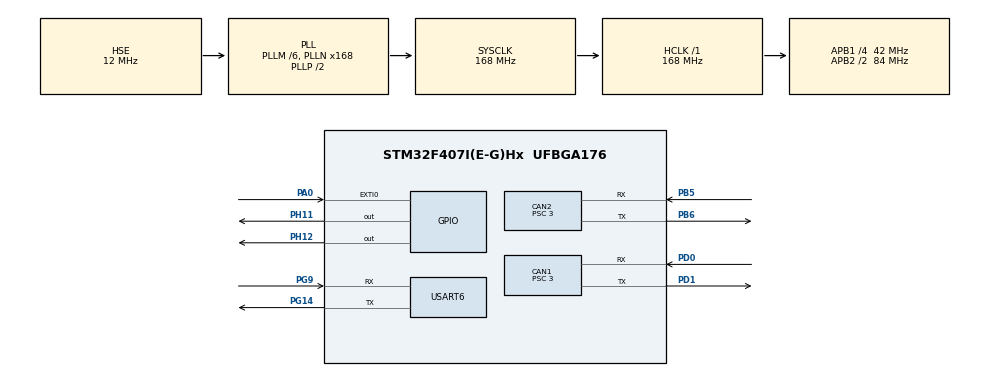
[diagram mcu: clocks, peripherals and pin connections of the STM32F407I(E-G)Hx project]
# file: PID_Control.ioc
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CAN1.BS1=CAN_BS1_10TQ
CAN1.BS2=CAN_BS2_3TQ
CAN1.CalculateBaudRate=1000000
CAN1.CalculateTimeBit=1000
CAN1.CalculateTimeQuantum=71.42857142857143
CAN1.Prescaler=3
CAN2.BS1=CAN_BS1_10TQ
CAN2.BS2=CAN_BS2_3TQ
CAN2.CalculateBaudRate=1000000
CAN2.CalculateTimeBit=1000
CAN2.CalculateTimeQuantum=71.42857142857143
CAN2.Prescaler=3
Dma.Request0=USART6_RX
Dma.Request1=USART6_TX
Dma.USART6_RX.0.Direction=DMA_PERIPH_TO_MEMORY
Dma.USART6_RX.0.FIFOMode=DMA_FIFOMODE_DISABLE
Dma.USART6_RX.0.Instance=DMA2_Stream1
Dma.USART6_RX.0.MemDataAlignment=DMA_MDATAALIGN_BYTE
Dma.USART6_RX.0.MemInc=DMA_MINC_ENABLE
Dma.USART6_RX.0.Mode=DMA_NORMAL
Dma.USART6_RX.0.PeriphDataAlignment=DMA_PDATAALIGN_BYTE
Dma.USART6_RX.0.PeriphInc=DMA_PINC_DISABLE
Dma.USART6_RX.0.Priority=DMA_PRIORITY_VERY_HIGH
Dma.USART6_TX.1.Direction=DMA_MEMORY_TO_PERIPH
Dma.USART6_TX.1.FIFOMode=DMA_FIFOMODE_DISABLE
Dma.USART6_TX.1.Instance=DMA2_Stream6
Dma.USART6_TX.1.MemDataAlignment=DMA_MDATAALIGN_BYTE
Dma.USART6_TX.1.MemInc=DMA_MINC_ENABLE
Dma.USART6_TX.1.Mode=DMA_NORMAL
Dma.USART6_TX.1.PeriphDataAlignment=DMA_PDATAALIGN_BYTE
Dma.USART6_TX.1.PeriphInc=DMA_PINC_DISABLE
Dma.USART6_TX.1.Priority=DMA_PRIORITY_VERY_HIGH
Mcu.Family=STM32F4
Mcu.Name=STM32F407I(E-G)Hx
Mcu.Package=UFBGA176
NVIC.CAN1_RX0_IRQn=true\:0\:0\:false\:false\:true\:true\:true\:true
NVIC.CAN1_RX1_IRQn=true\:0\:0\:false\:false\:true\:true\:true\:true
NVIC.CAN2_RX0_IRQn=true\:0\:0\:false\:false\:true\:true\:true\:true
NVIC.CAN2_RX1_IRQn=true\:0\:0\:false\:false\:true\:true\:true\:true
NVIC.DMA2_Stream1_IRQn=true\:0\:0\:false\:false\:true\:false\:true\:true
NVIC.DMA2_Stream6_IRQn=true\:0\:0\:false\:false\:true\:false\:true\:true
NVIC.EXTI0_IRQn=true\:0\:0\:false\:false\:true\:true\:true\:true
NVIC.PriorityGroup=NVIC_PRIORITYGROUP_4
NVIC.TIM1_UP_TIM10_IRQn=true\:0\:0\:false\:false\:true\:true\:true\:true
NVIC.TIM2_IRQn=true\:0\:0\:false\:false\:true\:true\:true\:true
NVIC.TIM3_IRQn=true\:0\:0\:false\:false\:true\:true\:true\:true
NVIC.USART6_IRQn=true\:0\:0\:false\:false\:true\:true\:true\:true
PA0-WKUP.GPIO_ModeDefaultEXTI=GPIO_MODE_IT_FALLING
PA0-WKUP.GPIO_PuPd=GPIO_PULLUP
PA0-WKUP.Signal=GPXTI0
PA13.Mode=Serial_Wire
PA13.Signal=SYS_JTMS-SWDIO
PA14.Mode=Serial_Wire
PA14.Signal=SYS_JTCK-SWCLK
PB5.Mode=CAN_Activate
PB5.Signal=CAN2_RX
PB6.Mode=CAN_Activate
PB6.Signal=CAN2_TX
PD0.Mode=CAN_Activate
PD0.Signal=CAN1_RX
PD1.Mode=CAN_Activate
PD1.Signal=CAN1_TX
PG14.Mode=Asynchronous
PG14.Signal=USART6_TX
PG9.Mode=Asynchronous
PG9.Signal=USART6_RX
PH0-OSC_IN.Mode=HSE-External-Oscillator
PH0-OSC_IN.Signal=RCC_OSC_IN
PH1-OSC_OUT.Mode=HSE-External-Oscillator
PH1-OSC_OUT.Signal=RCC_OSC_OUT
PH11.Signal=GPIO_Output
PH12.PinState=GPIO_PIN_RESET
PH12.Signal=GPIO_Output
ProjectManager.HeapSize=0x200
ProjectManager.StackSize=0x400
ProjectManager.TargetToolchain=MDK-ARM V5.32
RCC.48MHZClocksFreq_Value=84000000
RCC.AHBFreq_Value=168000000
RCC.APB1CLKDivider=RCC_HCLK_DIV4
RCC.APB1Freq_Value=42000000
RCC.APB1TimFreq_Value=84000000
RCC.APB2CLKDivider=RCC_HCLK_DIV2
RCC.APB2Freq_Value=84000000
RCC.APB2TimFreq_Value=168000000
RCC.CortexFreq_Value=168000000
RCC.HCLKFreq_Value=168000000
RCC.HSE_VALUE=12000000
RCC.HSI_VALUE=16000000
RCC.LSE_VALUE=32768
RCC.PLLM=6
RCC.PLLN=168
RCC.PLLSourceVirtual=RCC_PLLSOURCE_HSE
RCC.SYSCLKFreq_VALUE=168000000
RCC.SYSCLKSource=RCC_SYSCLKSOURCE_PLLCLK
RCC.VCOOutputFreq_Value=336000000
TIM1.Period=999
TIM1.Prescaler=16799
TIM2.Period=999
TIM2.Prescaler=1679
TIM3.Period=999
TIM3.Prescaler=16799
USART6.VirtualMode=VM_ASYNC
VP_TIM1_VS_ClockSourceINT.Mode=Internal
VP_TIM2_VS_ClockSourceINT.Mode=Internal
VP_TIM3_VS_ClockSourceINT.Mode=Internal
board=custom

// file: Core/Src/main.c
/* USER CODE BEGIN Header */
/**
  ******************************************************************************
  * @file           : main.c
  * @brief          : Main program body
  ******************************************************************************
  * @attention
  *
  * Copyright (c) 2025 STMicroelectronics.
  * All rights reserved.
  *
  * This software is licensed under terms that can be found in the LICENSE file
  * in the root directory of this software component.
  * If no LICENSE file comes with this software, it is provided AS-IS.
  *
  ******************************************************************************
  */
/* USER CODE END Header */
#include "main.h"
#include "can.h"
#include "dma.h"
#include "tim.h"
#include "usart.h"
#include "gpio.h"

/* USER CODE BEGIN Includes */
#include "CAN_receive.h"
#include "pid_control.h"
#include "bsp_can.h"
#include "serialplot.h"
#include <math.h>
#include <stdint.h>
#include <stdlib.h>
/* USER CODE END Includes */

/* USER CODE BEGIN PD */
uint8_t exti_flag=0;
float output=0;
float speed_target=0;
uint32_t counter=0;
/* USER CODE END PD */

void SystemClock_Config(void);

int main(void)
{

  /* USER CODE BEGIN 1 */
  counter=0;//初始化计数器

  /* USER CODE END 1 */

  /* MCU Configuration--------------------------------------------------------*/

  /* Reset of all peripherals, Initializes the Flash interface and the Systick. */
  HAL_Init();

  /* Configure the system clock */
  SystemClock_Config();

  /* Initialize all configured peripherals */
  MX_GPIO_Init();
  MX_DMA_Init();
  MX_CAN1_Init();
  MX_CAN2_Init();
  MX_USART6_UART_Init();
  MX_TIM1_Init();
  MX_TIM2_Init();
  MX_TIM3_Init();
  /* USER CODE BEGIN 2 */
  HAL_TIM_Base_Start_IT(&htim1);
	HAL_TIM_Base_Start_IT(&htim2);
	HAL_TIM_Base_Start_IT(&htim3);
	HAL_UART_Init(&huart6);
	can_filter_init();
  /* USER CODE END 2 */

  /* Infinite loop */
  /* USER CODE BEGIN WHILE */
  while (1)
  {
		switch(exti_flag){
			case 0:HAL_GPIO_WritePin(GPIOH,GPIO_PIN_12,GPIO_PIN_RESET);
      CAN_cmd_chassis(output,0,0,0);
      HAL_Delay(10);break;
		  case 1:HAL_GPIO_WritePin(GPIOH,GPIO_PIN_12,GPIO_PIN_SET);
      CAN_cmd_chassis(0,0,0,0);
		}//按键控制电机启动停止
    speed_target=8000*sin(2*3.14159*((float)counter)/100.0f);//目标速度设为正弦波变化
    /* USER CODE END WHILE */

  }
}

void SystemClock_Config(void)
{
  RCC_OscInitTypeDef RCC_OscInitStruct = {0};
  RCC_ClkInitTypeDef RCC_ClkInitStruct = {0};

  /** Configure the main internal regulator output voltage
  */
  __HAL_RCC_PWR_CLK_ENABLE();
  __HAL_PWR_VOLTAGESCALING_CONFIG(PWR_REGULATOR_VOLTAGE_SCALE1);

  /** Initializes the RCC Oscillators according to the specified parameters
  * in the RCC_OscInitTypeDef structure.
  */
  RCC_OscInitStruct.OscillatorType = RCC_OSCILLATORTYPE_HSE;
  RCC_OscInitStruct.HSEState = RCC_HSE_ON;
  RCC_OscInitStruct.PLL.PLLState = RCC_PLL_ON;
  RCC_OscInitStruct.PLL.PLLSource = RCC_PLLSOURCE_HSE;
  RCC_OscInitStruct.PLL.PLLM = 6;
  RCC_OscInitStruct.PLL.PLLN = 168;
  RCC_OscInitStruct.PLL.PLLP = RCC_PLLP_DIV2;
  RCC_OscInitStruct.PLL.PLLQ = 4;
  if (HAL_RCC_OscConfig(&RCC_OscInitStruct) != HAL_OK)
  {
    Error_Handler();
  }

  /** Initializes the CPU, AHB and APB buses clocks
  */
  RCC_ClkInitStruct.ClockType = RCC_CLOCKTYPE_HCLK|RCC_CLOCKTYPE_SYSCLK
                              |RCC_CLOCKTYPE_PCLK1|RCC_CLOCKTYPE_PCLK2;
  RCC_ClkInitStruct.SYSCLKSource = RCC_SYSCLKSOURCE_PLLCLK;
  RCC_ClkInitStruct.AHBCLKDivider = RCC_SYSCLK_DIV1;
  RCC_ClkInitStruct.APB1CLKDivider = RCC_HCLK_DIV4;
  RCC_ClkInitStruct.APB2CLKDivider = RCC_HCLK_DIV2;

  if (HAL_RCC_ClockConfig(&RCC_ClkInitStruct, FLASH_LATENCY_5) != HAL_OK)
  {
    Error_Handler();
  }
}

/* USER CODE BEGIN 4 */
void HAL_TIM_PeriodElapsedCallback(TIM_HandleTypeDef *htim)
{
  if (htim->Instance == TIM1) // 定时器触发发送
  {
     if (!serialplot_dma_busy)
     {
        UART_TX_DATA[2 + 2 * 3 + 0] = (int8_t)((int16_t)speed_target & 0xFF);
        UART_TX_DATA[2 + 2 * 3 + 1] = (int8_t)((int16_t)speed_target >> 8 & 0xFF);
			 int8_t *buf=get_UART_TX_DATA_ptr();

         uint16_t len = get_UART_TX_DATA_size();
			   HAL_UART_Transmit_DMA(&huart6,buf,len);
         if (HAL_UART_Transmit_DMA(&huart6, buf, len) == HAL_OK)
         {
             serialplot_dma_busy = 1; // 置忙，等待 HAL_UART_TxCpltCallback 清零
         }
         else
         {
             // 发送失败，可根据需要处理错误或重试
         }
     }
  }
  if(htim->Instance==TIM2){//计时器2中断，PID计算
  HAL_GPIO_TogglePin(GPIOH,GPIO_PIN_11);

   static PID_Controller pid1;//速度 PID控制器实例
   static PID_Controller pid2;//扭矩 PID控制器实例

   PID_Init_speed(&pid1, 1.0f, 1.0f, 0.1f);// 初始化PID控制器, 设置Kp, Ki, Kd, 积分限幅和误差限幅
   const motor_measure_t *motor = get_chassis_motor_measure_point(0);
   int16_t measured_value = motor->speed_rpm; // 获取实际速度
   float output_current = PID_Compute_speed(&pid1, speed_target,(float)measured_value, 1000.0f, 1000.0f);

  PID_Init_torque(&pid2, 0.5f, 0.0f, 0.05f);
   int16_t measured_value2 = motor->given_current; // 获取实际电流
   float output_current2 = PID_Compute_torque(&pid2, output_current, (float)measured_value2, 100.0f, 10.0f); // ,获取实际电流值用于输出
   output=output_current2;
  }
  if(htim->Instance==TIM3){//定时器3中断
    counter++;
     }
}
//0 e=8000,p=1,i=0,d=0.05,

void HAL_GPIO_EXTI_Callback(uint16_t GPIO_Pin)
{
	switch(GPIO_Pin)
	{
		case GPIO_PIN_0:
		{
	  exti_flag=(exti_flag+1)%2;
		}break;
		default:break;
	}
}

/* USER CODE END 4 */

void Error_Handler(void)
{
  __disable_irq();
  while (1)
  {
  }
}
